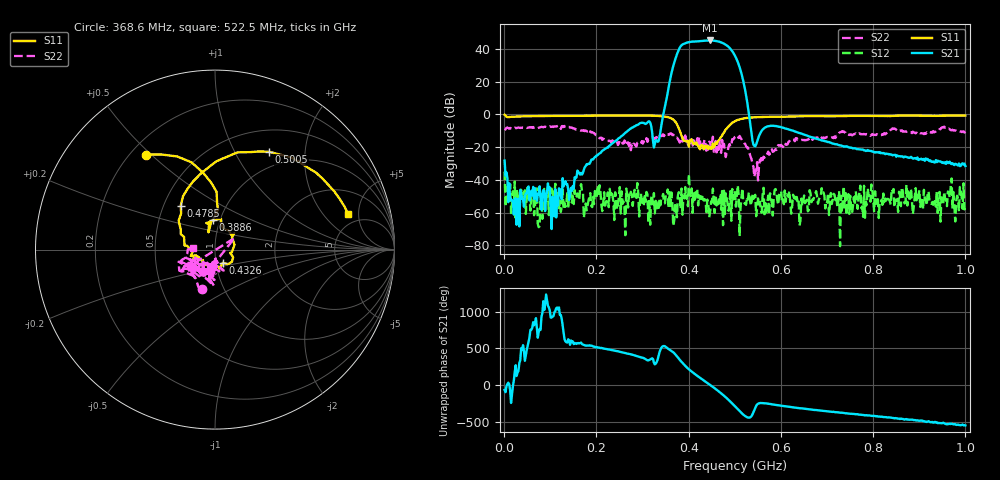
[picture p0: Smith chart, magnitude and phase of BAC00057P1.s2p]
!measured: 2026-10-27T15:19:38
!cal_instance: BBtestOct27
!cal_created: 2026-10-27T14:45
!cal_file: BBtesting.cal
!port1_delay_ps: -58.63
!port2_delay_ps: -59.31
!host: dhcp-10-250-247-203.harvard.edu
! Created with skrf 2.1.0 (http://scikit-rf.org).
# Hz S RI R 50.0
!freq ReS11 ImS11 ReS21 ImS21 ReS12 ImS12 ReS22 ImS22
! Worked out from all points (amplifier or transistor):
!   501 points, 1 MHz to 1 GHz, reference 50 ohm
!   highest |S21| = 45.2 dB at 446.6 MHz (marker M1)
!   |S21| within 3 dB of that: 384.4 MHz to 482.5 MHz (98.06 MHz wide, 22.6 % of centre)
!   unconditionally stable (mu >= 1): start of sweep to 392.6 MHz; 418.7 MHz to 452.2 MHz; 494.6 MHz to end of sweep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
!   at 166.8 MHz: K = 656.88, MAG = -27.7 dB, |S12| = -42.6 dB
!   at 500.5 MHz: K = 1.21, MAG = 38.8 dB, |S12| = -47.4 dB
!   at 1 GHz: K = 1857.39, MAG = -22.9 dB, |S12| = -57.1 dB
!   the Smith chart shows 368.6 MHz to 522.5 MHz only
!   S11 on the Smith chart (normalised r, x): 368.6 MHz: 0.26, +0.48; 388.6 MHz: 0.93, +0.32; 432.6 MHz: 1.08, -0.16; 478.5 MHz: 0.61, +0.33; 500.5 MHz: 0.78, +1.39; 522.5 MHz: 3.87, +3.74
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1000000  -0.3669 0.9026  0.0175 -0.0345  0.00597 0.017  0.3311 -0.0286
1.68832e8  0.4947 -0.7624  -0.0139 -0.0044  -0.00395 0.00229  -0.0204 -0.3237
3.34666e8  -0.8455 -0.2995  0.1218 0.0889  -0.0011 0.000325  0.0568 -0.1905
3.68632e8  -0.3864 0.5289  9.086 36.47  0.000424 0.000375  -0.0721 -0.2196
3.74626e8  -0.1308 0.4862  57.77 36.51  -0.00015 -0.000706  -0.1121 -0.1585
3.8062e8  0.00863 0.3221  105 -26.52  -0.00291 -0.00146  -0.0739 -0.1171
3.88612e8  -0.0101 0.1656  47.71 -132.9  -0.00295 -0.000899  -0.1731 -0.0929
3.96604e8  -0.0486 0.1477  -81.29 -133.3  0.00239 0.00239  -0.0746 -0.148
4.08592e8  0.0369 0.1397  -166.2 13.68  -0.000763 0.000615  -0.0549 -0.0979
4.2058e8  0.1088 0.0273  -82.78 149.8  0.0012 0.00113  -0.0763 -0.0791
4.32568e8  0.0429 -0.0739  70.43 162.7  -0.00219 0.000864  -0.0635 -0.1119
4.46554e8  -0.0696 -0.0756  181 14.48  0.000648 -0.000838  -0.0893 -0.1088
4.54546e8  -0.0867 -0.0446  150.9 -94.51  -0.00205 -0.00039  -0.0105 -0.0714
4.62538e8  -0.1436 0.00774  58.18 -160.7  0.0019 -0.00118  -0.0447 -0.0955
4.7053e8  -0.191 0.0859  -54.6 -148.5  -0.00123 -3.94e-05  -0.0206 -0.0637
4.78522e8  -0.1908 0.2455  -123.9 -64.15  -0.000896 3.49e-05  -0.000321 -0.075
4.9051e8  0.00906 0.4929  -74.22 68.5  -0.00425 0.0016  0.00311 -0.1029
5.005e8  0.3023 0.5449  16.71 59.31  -0.00287 0.00313  -0.1612 -0.1302
5.22478e8  0.7417 0.1985  2.874 -4.717  -0.000521 0.00188  -0.1252 0.01
6.68332e8  0.0639 -0.8802  0.1765 0.0923  0.002 -0.00155  0.0443 -0.161
8.34166e8  -0.5953 -0.6712  0.0143 -0.0582  0.000313 0.00246  -0.1661 -0.2382
1e9  -0.8892 -0.2453  -0.0262 0.0028  0.000948 0.00102  -0.2408 -0.1728
